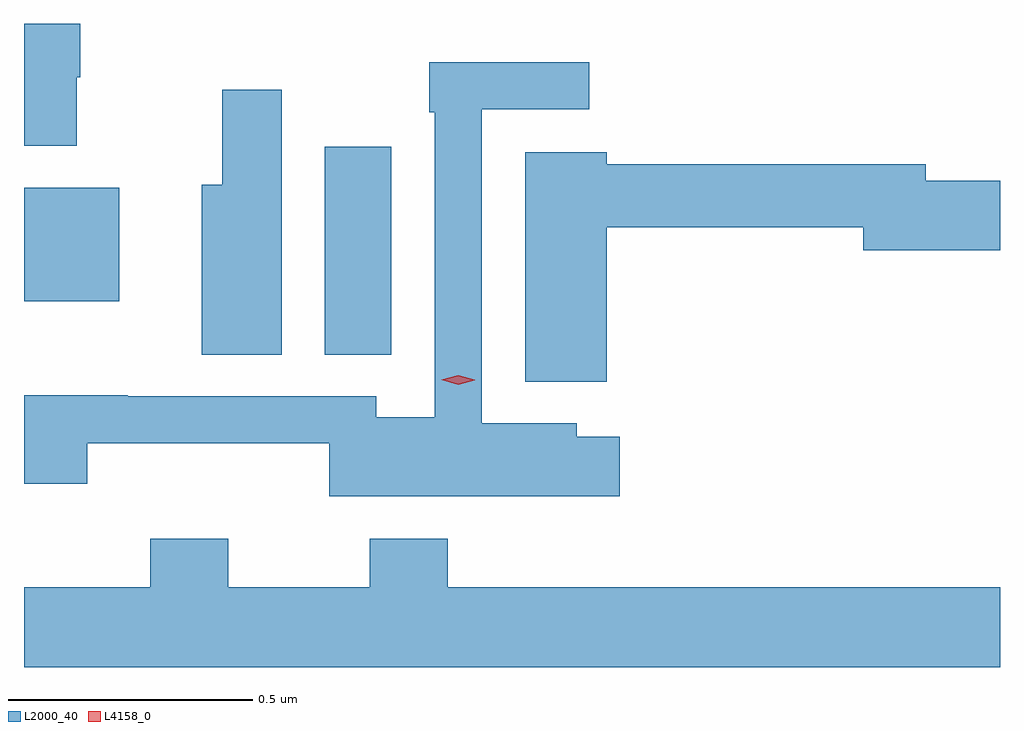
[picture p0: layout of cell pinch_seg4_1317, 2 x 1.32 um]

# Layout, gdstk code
import gdstk
lib = gdstk.Library(unit=1e-6, precision=1e-09)
def R(c, l, rs):  # rectangles x0, y0, x1, y1
    for r in rs: c.add(gdstk.rectangle(r[:2], r[2:], *l))
def P(c, l, *ps):  # polygons
    for p in ps: c.add(gdstk.Polygon(p, *l))
L2000_40 = (2000, 40)
L4158_0 = (4158, 0)

pinch_seg4_1317 = lib.new_cell('pinch_seg4_1317')
R(pinch_seg4_1317, L2000_40, [(288.338,788.137,288.475,788.563), (287.722,788.246,287.917,788.479)])
P(pinch_seg4_1317, L2000_40, [(287.83,788.705),(287.837,788.705),(287.837,788.815),(287.722,788.815),(287.722,788.565),(287.83,788.565)],
  [(288.943,787.969),(288.855,787.969),(288.855,787.996),(288.66,787.996),(288.66,788.64),(288.88,788.64),(288.88,788.736),(288.552,788.736),(288.552,788.633),(288.564,788.633),(288.564,788.008),(288.444,788.008),(288.444,788.052),(287.935,788.052),(287.935,788.054),(287.722,788.054),(287.722,787.872),(287.852,787.872),(287.852,787.955),(288.348,787.955),(288.348,787.847),(288.943,787.847)],
  [(288.25,788.68),(288.128,788.68),(288.128,788.485),(288.086,788.485),(288.086,788.137),(288.25,788.137)],
  [(288.916,788.398),(289.442,788.398),(289.442,788.351),(289.722,788.351),(289.722,788.493),(289.57,788.493),(289.57,788.527),(288.916,788.527),(288.916,788.551),(288.749,788.551),(288.749,788.081),(288.916,788.081)],
  [(289.722,787.66),(288.59,787.66),(288.59,787.759),(288.43,787.759),(288.43,787.66),(288.141,787.66),(288.141,787.759),(287.981,787.759),(287.981,787.66),(287.722,787.66),(287.722,787.496),(289.722,787.496)])
P(pinch_seg4_1317, L4158_0, [(288.612,788.075),(288.577,788.085),(288.577,788.085),(288.577,788.085),(288.612,788.095),(288.646,788.085),(288.646,788.084),(288.646,788.084)])

lib.write_gds('pinch_seg4_1317.gds')
